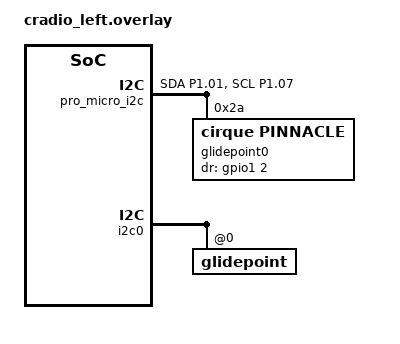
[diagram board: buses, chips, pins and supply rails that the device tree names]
/*
 * Copyright (c) 2020 The ZMK Contributors
 *
 * SPDX-License-Identifier: MIT
 */

#include "cradio.dtsi"

&pinctrl {
    i2c0_default: i2c0_default {
        group1 {
            psels = <NRF_PSEL(TWIM_SDA, 1, 01)>,
                    <NRF_PSEL(TWIM_SCL, 1, 07)>;
        };
    };

    i2c0_sleep: i2c0_sleep {
        group1 {
            psels = <NRF_PSEL(TWIM_SDA, 1, 01)>,
                    <NRF_PSEL(TWIM_SCL, 1, 07)>;
            low-power-enable;
        };
    };
};

&pro_micro_i2c {
	status = "okay";
	compatible = "nordic,nrf-twim"; 
	pinctrl-0 = <&i2c0_default>;
	pinctrl-1 = <&i2c0_sleep>;
	pinctrl-names = "default", "sleep";

    glidepoint0: glidepoint@0 {
        compatible = "cirque,pinnacle";
        reg = <0x2a>;
        status = "okay";
        dr-gpios = <&gpio1 2 (GPIO_ACTIVE_HIGH)>;

        sensitivity = "1x";
        sleep;
        no-taps;
        absolute-mode;
    };
};

&i2c0 {
    status = "okay";
    glidepoint: glidepoint@0 {
        status = "okay";
    };
};


&glidepoint_split {
    evice = <&glidepoint>;
};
